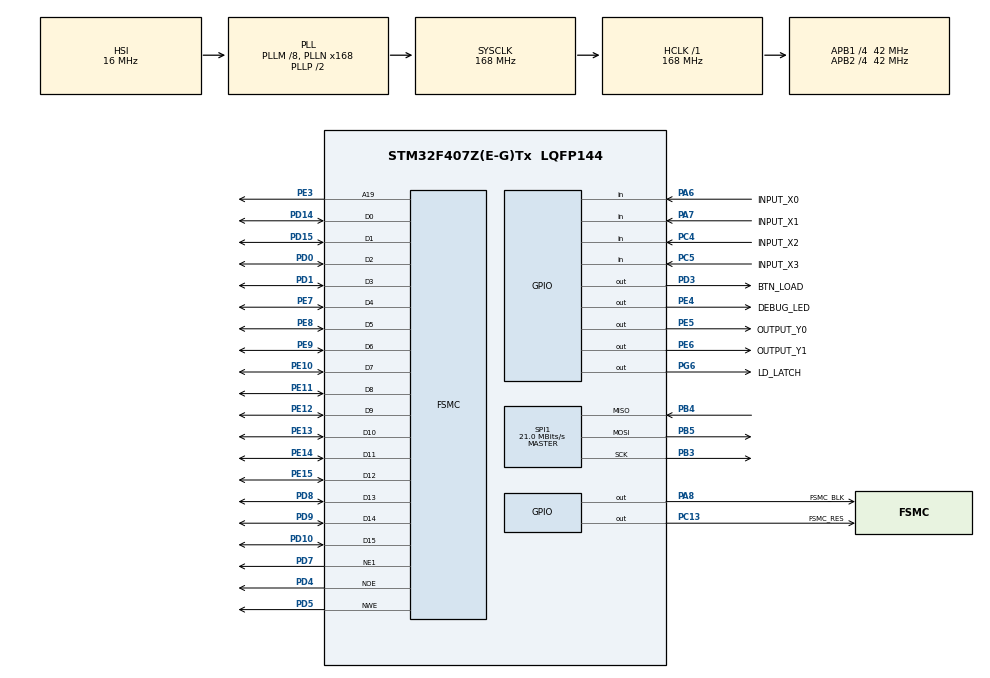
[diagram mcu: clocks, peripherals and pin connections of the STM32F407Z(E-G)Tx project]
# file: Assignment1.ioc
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FSMC.AddressSetupTime1=0xf
FSMC.BusTurnAroundDuration1=0
FSMC.DataSetupTime1=60
FSMC.ExtendedAddressSetupTime1=8
FSMC.ExtendedBusTurnAroundDuration1=0
FSMC.ExtendedDataSetupTime1=9
FSMC.ExtendedMode1=FSMC_EXTENDED_MODE_ENABLE
Mcu.Family=STM32F4
Mcu.Name=STM32F407Z(E-G)Tx
Mcu.Package=LQFP144
NVIC.PriorityGroup=NVIC_PRIORITYGROUP_4
NVIC.TIM2_IRQn=true\:0\:0\:false\:false\:true\:true\:true\:true
NVIC.TIM4_IRQn=true\:0\:0\:false\:false\:true\:true\:true\:true
PA13.Mode=Serial_Wire
PA13.Signal=SYS_JTMS-SWDIO
PA14.Mode=Serial_Wire
PA14.Signal=SYS_JTCK-SWCLK
PA6.GPIO_Label=INPUT_X0
PA6.Signal=GPIO_Input
PA7.GPIO_Label=INPUT_X1
PA7.Signal=GPIO_Input
PA8.GPIO_Label=FSMC_BLK
PA8.Signal=GPIO_Output
PB3.Mode=Full_Duplex_Master
PB3.Signal=SPI1_SCK
PB4.Mode=Full_Duplex_Master
PB4.Signal=SPI1_MISO
PB5.Mode=Full_Duplex_Master
PB5.Signal=SPI1_MOSI
PC13-ANTI_TAMP.GPIO_Label=FSMC_RES
PC13-ANTI_TAMP.Signal=GPIO_Output
PC4.GPIO_Label=INPUT_X2
PC4.Signal=GPIO_Input
PC5.GPIO_Label=INPUT_X3
PC5.Signal=GPIO_Input
PD0.Signal=FSMC_D2_DA2
PD1.Signal=FSMC_D3_DA3
PD10.Signal=FSMC_D15_DA15
PD14.Signal=FSMC_D0_DA0
PD15.Signal=FSMC_D1_DA1
PD3.GPIO_Label=BTN_LOAD
PD3.Signal=GPIO_Output
PD4.Signal=FSMC_NOE
PD5.Signal=FSMC_NWE
PD7.Mode=NorPsramChipSelect1_1
PD7.Signal=FSMC_NE1
PD8.Signal=FSMC_D13_DA13
PD9.Signal=FSMC_D14_DA14
PE10.Signal=FSMC_D7_DA7
PE11.Signal=FSMC_D8_DA8
PE12.Signal=FSMC_D9_DA9
PE13.Signal=FSMC_D10_DA10
PE14.Signal=FSMC_D11_DA11
PE15.Signal=FSMC_D12_DA12
PE3.Signal=FSMC_A19
PE4.GPIO_Label=DEBUG_LED
PE4.Signal=GPIO_Output
PE5.GPIO_Label=OUTPUT_Y0
PE5.Signal=GPIO_Output
PE6.GPIO_Label=OUTPUT_Y1
PE6.Signal=GPIO_Output
PE7.Signal=FSMC_D4_DA4
PE8.Signal=FSMC_D5_DA5
PE9.Signal=FSMC_D6_DA6
PG6.GPIO_Label=LD_LATCH
PG6.Signal=GPIO_Output
PH0-OSC_IN.Mode=HSE-External-Oscillator
PH0-OSC_IN.Signal=RCC_OSC_IN
PH1-OSC_OUT.Mode=HSE-External-Oscillator
PH1-OSC_OUT.Signal=RCC_OSC_OUT
ProjectManager.HeapSize=0x200
ProjectManager.StackSize=0x400
ProjectManager.TargetToolchain=STM32CubeIDE
RCC.48MHZClocksFreq_Value=84000000
RCC.AHBFreq_Value=168000000
RCC.APB1CLKDivider=RCC_HCLK_DIV4
RCC.APB1Freq_Value=42000000
RCC.APB1TimFreq_Value=84000000
RCC.APB2CLKDivider=RCC_HCLK_DIV4
RCC.APB2Freq_Value=42000000
RCC.APB2TimFreq_Value=84000000
RCC.CortexFreq_Value=168000000
RCC.HCLKFreq_Value=168000000
RCC.HSE_VALUE=8000000
RCC.HSI_VALUE=16000000
RCC.LSE_VALUE=32768
RCC.PLLM=8
RCC.PLLN=168
RCC.SYSCLKFreq_VALUE=168000000
RCC.SYSCLKSource=RCC_SYSCLKSOURCE_PLLCLK
RCC.VCOOutputFreq_Value=336000000
SH.FSMC_A19.0=FSMC_A19,A19_1
SH.FSMC_D0_DA0.0=FSMC_D0,16b-d1
SH.FSMC_D10_DA10.0=FSMC_D10,16b-d1
SH.FSMC_D11_DA11.0=FSMC_D11,16b-d1
SH.FSMC_D12_DA12.0=FSMC_D12,16b-d1
SH.FSMC_D13_DA13.0=FSMC_D13,16b-d1
SH.FSMC_D14_DA14.0=FSMC_D14,16b-d1
SH.FSMC_D15_DA15.0=FSMC_D15,16b-d1
SH.FSMC_D1_DA1.0=FSMC_D1,16b-d1
SH.FSMC_D2_DA2.0=FSMC_D2,16b-d1
SH.FSMC_D3_DA3.0=FSMC_D3,16b-d1
SH.FSMC_D4_DA4.0=FSMC_D4,16b-d1
SH.FSMC_D5_DA5.0=FSMC_D5,16b-d1
SH.FSMC_D6_DA6.0=FSMC_D6,16b-d1
SH.FSMC_D7_DA7.0=FSMC_D7,16b-d1
SH.FSMC_D8_DA8.0=FSMC_D8,16b-d1
SH.FSMC_D9_DA9.0=FSMC_D9,16b-d1
SH.FSMC_NOE.0=FSMC_NOE,Lcd1
SH.FSMC_NWE.0=FSMC_NWE,Lcd1
SPI1.BaudRatePrescaler=SPI_BAUDRATEPRESCALER_2
SPI1.CalculateBaudRate=21.0 MBits/s
SPI1.Direction=SPI_DIRECTION_2LINES
SPI1.Mode=SPI_MODE_MASTER
SPI1.VirtualType=VM_MASTER
TIM2.Period=100-1
TIM2.Prescaler=840-1
TIM4.Period=100-1
TIM4.Prescaler=840-1
VP_TIM2_VS_ClockSourceINT.Mode=Internal
VP_TIM4_VS_ClockSourceINT.Mode=Internal
board=custom

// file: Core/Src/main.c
/* USER CODE BEGIN Header */
/**
 ******************************************************************************
 * @file           : main.c
 * @brief          : Main program body
 ******************************************************************************
 * @attention
 *
 * <h2><center>&copy; Copyright (c) 2023 STMicroelectronics.
 * All rights reserved.</center></h2>
 *
 * This software component is licensed by ST under BSD 3-Clause license,
 * the "License"; You may not use this file except in compliance with the
 * License. You may obtain a copy of the License at:
 *                        opensource.org/licenses/BSD-3-Clause
 *
 ******************************************************************************
 */
/* USER CODE END Header */
#include "main.h"
#include "spi.h"
#include "tim.h"
#include "gpio.h"
#include "fsmc.h"

/* USER CODE BEGIN Includes */
#include "software_timer.h"
#include "led_7seg.h"
#include "button.h"
#include "lcd.h"
#include "picture.h"

#include "pacman.h"

#include <math.h>
/* USER CODE END Includes */

void SystemClock_Config(void);
/* USER CODE BEGIN PFP */

void init_system(void);

/* USER CODE END PFP */

int main(void)
{

  /* MCU Configuration--------------------------------------------------------*/

  /* Reset of all peripherals, Initializes the Flash interface and the Systick. */
  HAL_Init();

  /* Configure the system clock */
  SystemClock_Config();

  /* Initialize all configured peripherals */
  MX_GPIO_Init();
  MX_TIM2_Init();
  MX_SPI1_Init();
  MX_FSMC_Init();
  MX_TIM4_Init();
  /* USER CODE BEGIN 2 */
	init_system();
	timer2_set(50);
	timer4_set(1);

  /* USER CODE END 2 */

  /* Infinite loop */
  /* USER CODE BEGIN WHILE */
	while (1) {
		if (timer2_flag) {
			timer2_flag = 0;
			button_scan();

			game_process();
		}
	}

    /* USER CODE END WHILE */

}

void SystemClock_Config(void)
{
  RCC_OscInitTypeDef RCC_OscInitStruct = {0};
  RCC_ClkInitTypeDef RCC_ClkInitStruct = {0};

  /** Configure the main internal regulator output voltage
  */
  __HAL_RCC_PWR_CLK_ENABLE();
  __HAL_PWR_VOLTAGESCALING_CONFIG(PWR_REGULATOR_VOLTAGE_SCALE1);

  /** Initializes the RCC Oscillators according to the specified parameters
  * in the RCC_OscInitTypeDef structure.
  */
  RCC_OscInitStruct.OscillatorType = RCC_OSCILLATORTYPE_HSI;
  RCC_OscInitStruct.HSIState = RCC_HSI_ON;
  RCC_OscInitStruct.HSICalibrationValue = RCC_HSICALIBRATION_DEFAULT;
  RCC_OscInitStruct.PLL.PLLState = RCC_PLL_ON;
  RCC_OscInitStruct.PLL.PLLSource = RCC_PLLSOURCE_HSI;
  RCC_OscInitStruct.PLL.PLLM = 8;
  RCC_OscInitStruct.PLL.PLLN = 168;
  RCC_OscInitStruct.PLL.PLLP = RCC_PLLP_DIV2;
  RCC_OscInitStruct.PLL.PLLQ = 4;
  if (HAL_RCC_OscConfig(&RCC_OscInitStruct) != HAL_OK)
  {
    Error_Handler();
  }

  /** Initializes the CPU, AHB and APB buses clocks
  */
  RCC_ClkInitStruct.ClockType = RCC_CLOCKTYPE_HCLK|RCC_CLOCKTYPE_SYSCLK
                              |RCC_CLOCKTYPE_PCLK1|RCC_CLOCKTYPE_PCLK2;
  RCC_ClkInitStruct.SYSCLKSource = RCC_SYSCLKSOURCE_PLLCLK;
  RCC_ClkInitStruct.AHBCLKDivider = RCC_SYSCLK_DIV1;
  RCC_ClkInitStruct.APB1CLKDivider = RCC_HCLK_DIV4;
  RCC_ClkInitStruct.APB2CLKDivider = RCC_HCLK_DIV4;

  if (HAL_RCC_ClockConfig(&RCC_ClkInitStruct, FLASH_LATENCY_5) != HAL_OK)
  {
    Error_Handler();
  }
}

/* USER CODE BEGIN 4 */
void init_system() {
	button_init();
	led_7seg_init();
	lcd_init();

	timer2_init();

	timer4_init();

	game_init();
}

/* USER CODE END 4 */

void Error_Handler(void)
{
	__disable_irq();
	while (1) {
	}
}
